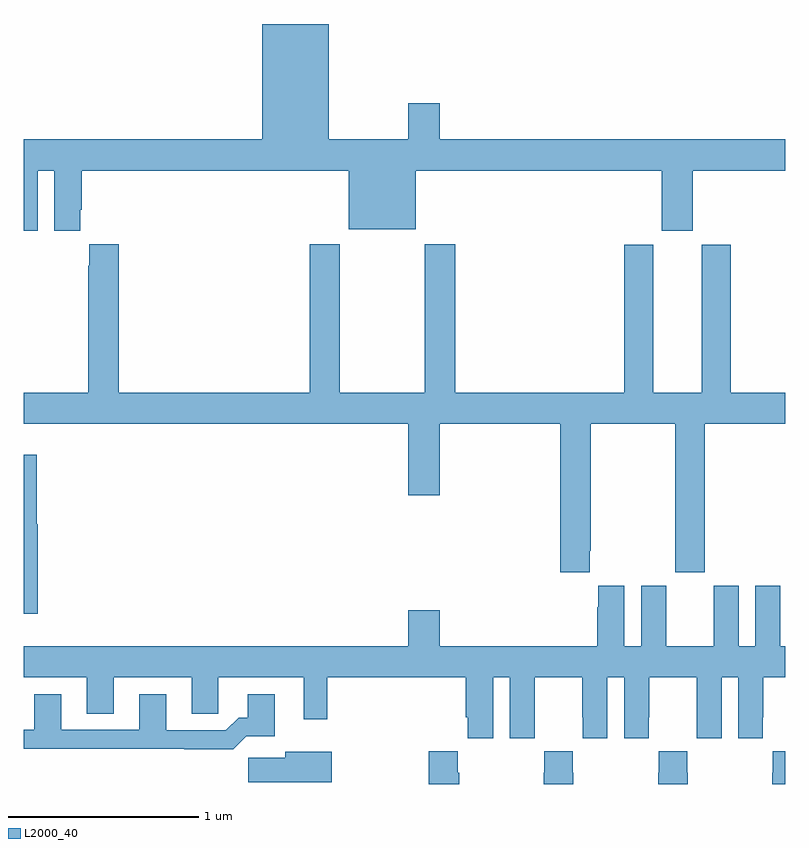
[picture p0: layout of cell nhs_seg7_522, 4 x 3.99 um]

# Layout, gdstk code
import gdstk
lib = gdstk.Library(unit=1e-6, precision=1e-09)
def P(c, l, *ps):  # polygons
    for p in ps: c.add(gdstk.Polygon(p, *l))
L2000_40 = (2000, 40)

nhs_seg7_522 = lib.new_cell('nhs_seg7_522')
P(nhs_seg7_522, L2000_40, [(153.02,1059.388),(152.602,1059.388),(152.602,1059.994),(152.252,1059.994),(152.252,1059.388),(151,1059.388),(151,1058.907),(151.072,1058.907),(151.072,1059.224),(151.16,1059.224),(151.16,1058.907),(151.297,1058.907),(151.297,1059.019),(151.304,1059.019),(151.304,1059.224),(152.708,1059.224),(152.708,1058.915),(153.058,1058.915),(153.058,1059.224),(154.352,1059.224),(154.352,1058.907),(154.516,1058.907),(154.516,1059.224),(155,1059.224),(155,1059.388),(153.184,1059.388),(153.184,1059.577),(153.02,1059.577)],
  [(153.973,1057.225),(153.978,1057.225),(153.978,1057.892),(154.423,1057.892),(154.423,1057.113),(154.578,1057.113),(154.578,1057.892),(155,1057.892),(155,1058.056),(154.715,1058.056),(154.715,1058.835),(154.562,1058.835),(154.562,1058.056),(154.306,1058.056),(154.306,1058.835),(154.154,1058.835),(154.154,1058.056),(153.266,1058.056),(153.266,1058.836),(153.106,1058.836),(153.106,1058.056),(152.661,1058.056),(152.661,1058.836),(152.501,1058.836),(152.501,1058.056),(151.499,1058.056),(151.499,1058.836),(151.343,1058.836),(151.343,1058.723),(151.339,1058.723),(151.339,1058.056),(151,1058.056),(151,1057.892),(153.02,1057.892),(153.02,1057.518),(153.184,1057.518),(153.184,1057.892),(153.818,1057.892),(153.818,1057.113),(153.973,1057.113)],
  [(151.072,1057.365),(151.067,1057.365),(151.067,1057.729),(151,1057.729),(151,1056.894),(151.072,1056.894)],
  [(154.375,1057.042),(154.244,1057.042),(154.244,1056.724),(154.156,1056.724),(154.156,1057.042),(154.019,1057.042),(154.019,1056.929),(154.013,1056.929),(154.013,1056.724),(153.184,1056.724),(153.184,1056.913),(153.02,1056.913),(153.02,1056.724),(151,1056.724),(151,1056.56),(151.331,1056.56),(151.331,1056.37),(151.471,1056.37),(151.471,1056.56),(151.883,1056.56),(151.883,1056.37),(152.022,1056.37),(152.022,1056.56),(152.471,1056.56),(152.471,1056.339),(152.593,1056.339),(152.593,1056.56),(153.323,1056.56),(153.323,1056.352),(153.332,1056.352),(153.332,1056.24),(153.466,1056.24),(153.466,1056.56),(153.554,1056.56),(153.554,1056.24),(153.684,1056.24),(153.684,1056.352),(153.685,1056.352),(153.685,1056.56),(153.935,1056.56),(153.935,1056.352),(153.936,1056.352),(153.936,1056.24),(154.066,1056.24),(154.066,1056.56),(154.154,1056.56),(154.154,1056.24),(154.284,1056.24),(154.284,1056.352),(154.285,1056.352),(154.285,1056.56),(154.535,1056.56),(154.535,1056.352),(154.536,1056.352),(154.536,1056.24),(154.666,1056.24),(154.666,1056.56),(154.754,1056.56),(154.754,1056.24),(154.884,1056.24),(154.884,1056.352),(154.885,1056.352),(154.885,1056.56),(155,1056.56),(155,1056.724),(154.975,1056.724),(154.975,1057.042),(154.844,1057.042),(154.844,1056.724),(154.756,1056.724),(154.756,1057.042),(154.625,1057.042),(154.625,1056.724),(154.375,1056.724)],
  [(152.168,1056.251),(152.317,1056.251),(152.317,1056.472),(152.177,1056.472),(152.177,1056.349),(152.128,1056.349),(152.061,1056.282),(151.747,1056.282),(151.747,1056.472),(151.607,1056.472),(151.607,1056.285),(151.195,1056.285),(151.195,1056.472),(151.055,1056.472),(151.055,1056.285),(151,1056.285),(151,1056.184),(151.843,1056.184),(151.843,1056.182),(152.099,1056.182)],
  [(153.888,1056.059),(153.885,1056.059),(153.885,1056.172),(153.735,1056.172),(153.735,1056.059),(153.733,1056.059),(153.733,1056),(153.888,1056)],
  [(155,1056.172),(154.935,1056.172),(154.935,1056.059),(154.933,1056.059),(154.933,1056),(155,1056)],
  [(154.488,1056.059),(154.485,1056.059),(154.485,1056.172),(154.335,1056.172),(154.335,1056.059),(154.333,1056.059),(154.333,1056),(154.488,1056)],
  [(153.288,1056.059),(153.281,1056.059),(153.281,1056.172),(153.128,1056.172),(153.128,1056),(153.288,1056)],
  [(152.617,1056.169),(152.372,1056.169),(152.372,1056.137),(152.178,1056.137),(152.178,1056.008),(152.617,1056.008)])

lib.write_gds('nhs_seg7_522.gds')
